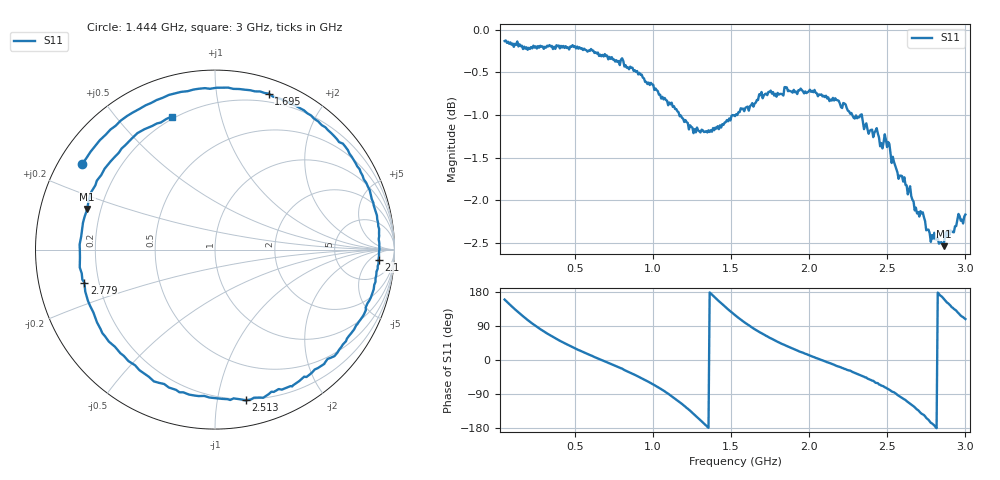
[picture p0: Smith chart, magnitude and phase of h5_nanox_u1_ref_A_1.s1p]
! nanovna_capture.py 2026-10-18T19:48:36+0900
! NanoVNA-F_V2 fw 0.6.0 SN 4A3639384505514B
! cal: load open short cal'ed  over 50000000-3000000000 Hz, 201 points
! points 401, avg 4
! h5 probe, tape spacer, genuine Nano X u1, position A (behind left button), placement 1
# HZ S RI R 50
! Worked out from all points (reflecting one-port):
!   401 points, 50 MHz to 3 GHz, reference 50 ohm
!   lowest |S11| = -2.5 dB at 2.86 GHz (marker M1), VSWR 6.89, Z = 7.43 + j7.57 ohm
!   phase of S11 starts at 159 deg and turns -771 deg over the sweep
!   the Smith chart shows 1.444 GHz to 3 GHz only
!   S11 on the Smith chart (normalised r, x): 1.444 GHz: 0.07, +0.29; 1.695 GHz: 0.12, +1.40; 2.1 GHz: 15, -10; 2.513 GHz: 0.19, -1.21; 2.779 GHz: 0.14, -0.12; 3 GHz: 0.19, +0.71
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5e7  -0.9221 0.3453
1.385e8  -0.5699 0.7941
2.19625e8  -0.1446 0.9659
3.08125e8  0.2766 0.9371
4.1875e8  0.6577 0.7212
6.03125e8  0.953 0.2018
7.875e8  0.8909 -0.339
8.98125e8  0.7014 -0.6342
1.001375e9  0.4 -0.8376
1.15625e9  -0.257 -0.8579
1.237375e9  -0.607 -0.6355
1.3185e9  -0.8421 -0.2302
1.384875e9  -0.8609 0.1597
1.443875e9  -0.7405 0.4758
1.525e9  -0.4212 0.7837
1.606125e9  -0.0563 0.8995
1.694625e9  0.2999 0.869
1.89375e9  0.7926 0.4639
2.10025e9  0.9112 -0.0554
2.2625e9  0.7885 -0.4185
2.402625e9  0.509 -0.7101
2.51325e9  0.1709 -0.8398
2.63125e9  -0.2832 -0.7488
2.727125e9  -0.6276 -0.4655
2.77875e9  -0.7279 -0.184
2.859875e9  -0.7116 0.2256
2.941e9  -0.4983 0.5831
3e9  -0.2416 0.7406
